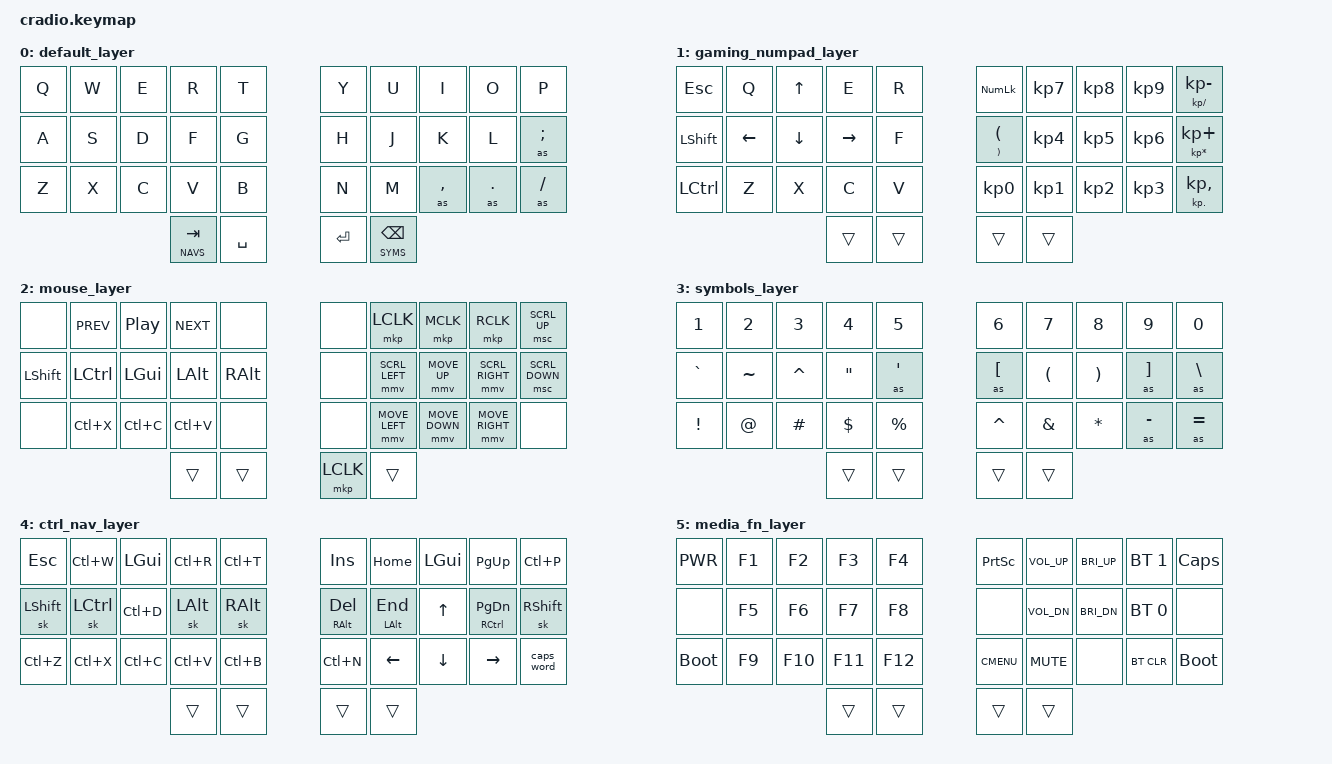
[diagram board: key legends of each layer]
// Copyright (c) 2022 The ZMK Contributors
// SPDX-License-Identifier: MIT

#include <behaviors.dtsi>
#include <dt-bindings/zmk/keys.h>
#include <dt-bindings/zmk/bt.h>

#define ZMK_POINTING_DEFAULT_MOVE_VAL 1500  // default: 600
#define ZMK_POINTING_DEFAULT_SCRL_VAL 20    // default: 10

#include <dt-bindings/zmk/pointing.h>

// Home row mods macro
#define HRML(k1,k2,k3,k4) &ht LSHFT k1  &ht LALT k2  &ht LCTRL k3  &ht LGUI k4
#define HRMR(k1,k2,k3,k4) &ht RGUI k1  &ht RCTRL k2  &ht RALT k3  &ht RSHFT k4

// My layer names
#define KEYS      0
#define GAME      1
#define MOUSE     2
#define SYMS      3
#define NAVS      4
#define UTIL      5

/ {
    behaviors {
        shifted: macro_shifted_kp {
          #binding-cells = <1>;
          label = "MACRO_SHIFTED_KP";
          compatible = "zmk,behavior-macro-one-param";
          bindings =
            <&macro_press &kp LSHFT>,
            <&macro_param_1to1 &macro_tap &kp MACRO_PLACEHOLDER>,
            <&macro_release &kp LSHFT>;
        };
        as_ht: autoshift_hold_tap {
          compatible = "zmk,behavior-hold-tap";
          label = "AUTOSHIFT_HOLD_TAP";
          #binding-cells = <2>;
          tapping-term-ms = <200>;
          flavor = "tap-preferred";
          bindings = <&shifted>, <&kp>;
        };
        as: autoshift {
          compatible = "zmk,behavior-macro-one-param";
          #binding-cells = <1>;
          label = "AUTOSHIFT_KP";
          bindings =
            <&macro_press>,
            <&macro_param_1to1>,
            <&macro_param_1to2>,
            <&as_ht MACRO_PLACEHOLDER MACRO_PLACEHOLDER>,
            <&macro_pause_for_release>,
            <&macro_release>,
            <&macro_param_1to1>,
            <&macro_param_1to2>,
            <&as_ht MACRO_PLACEHOLDER MACRO_PLACEHOLDER>;
        };
        caps_word: caps_word {
          compatible = "zmk,behavior-caps-word";
          #binding-cells = <0>;
          continue-list = <UNDERSCORE MINUS BSPC>;
        };
        ht: hold_tap {
            compatible = "zmk,behavior-hold-tap";
            #binding-cells = <2>;
            flavor = "tap-preferred";
            tapping-term-ms = <220>;
            quick-tap-ms = <150>;
            require-prior-idle-ms = <100>;
            bindings = <&kp>, <&kp>;
        };
        sk: sticky_key {
          compatible = "zmk,behavior-sticky-key";
          #binding-cells = <1>;
          bindings = <&kp>;
          release-after-ms = <2000>;
          quick-release;
          ignore-modifiers;
        };
        td_q_esc: tap_dance {
          compatible = "zmk,behavior-tap-dance";
          #binding-cells = <0>;
          tapping-term-ms = <200>;
          bindings = <&kp Q>, <&kp ESC>;
        };
        lon: toggle_layer_on_only {
            compatible = "zmk,behavior-toggle-layer";
            #binding-cells = <1>;
            display-name = "Toggle Layer On";
            toggle-mode = "on";
        };
    };

    conditional_layers {
        compatible = "zmk,conditional-layers";
        tri_layer {
            if-layers = <3 4>;
            then-layer = <5>;
        };
    };

    // handle layer transitions exclusively through layer buttons
    combos {
        compatible = "zmk,combos";
        // 󱀍 󰍽 -> 󰎠
        combo_layer_numpad {
            timeout-ms = <50>;
            key-positions = <30 31>;
            bindings = <&to GAME>;
            layers = <KEYS MOUSE>;
        };

        // 󱀍 󰎠 -> 󰍽
        combo_layer_mousepad {
            timeout-ms = <50>;
            key-positions = <32 33>;
            bindings = <&to MOUSE>;
            layers = <KEYS GAME>;
        };

        //  󰎠 󰍽 -> 󱀍 <- 󰎠 󰍽
        combo_layer_restore {
            timeout-ms = <50>;
            key-positions = <30 33>;
            bindings = <&to KEYS>;
            layers = <GAME MOUSE>;
        };
    };

    keymap {
        compatible = "zmk,keymap";
        default_layer {
            bindings = <
        //╭────────────┬────────────┬─────────────┬────────────┬────────────╮   ╭────────────┬────────────┬─────────────┬────────────┬────────────╮
        //│  Q         │  W         │  E          │  R         │  T         │   │  Y         │  U         │  I          │  O         │  P         │
            &kp Q       &kp W         &kp E         &kp R        &kp T            &kp Y        &kp U        &kp I         &kp O        &kp P
        //├────────────┼────────────┼─────────────┼────────────┼────────────┤   ├────────────┼────────────┼─────────────┼────────────┤────────────┤
        //│  A         │  S         │  D          │  F         │  G         │   │  H         │  J         │  K          │  L         │  ; :       │
            &kp A       &kp S         &kp D         &kp F        &kp G            &kp H        &kp J        &kp K         &kp L        &as SEMI
        //├────────────┼────────────┼─────────────┼────────────┼────────────┤   ├────────────┼────────────┼─────────────┼────────────┤────────────┤
        //│  Z         │  X         │  C          │  V         │  B         │   │  N         │  M         │  , <        │  . >       │  / ?       │
            &kp Z        &kp X        &kp C         &kp V        &kp B            &kp N        &kp M        &as COMMA     &as DOT      &as FSLH
        //╰────────────┴────────────┴─────────────┼────────────┼────────────┤   ├────────────┼────────────┼─────────────┴────────────┴────────────╯
        //                                        │           │  󱁐         │   │  󰌑         │  󰁮         │
                                                    &lt NAVS TAB &kp SPACE        &kp ENTER    &lt SYMS BSPC
        //                                        ╰────────────┴────────────╯   ╰────────────┴────────────╯
            >;
        };

        gaming_numpad_layer {
            bindings = <
        //╭────────────┬────────────┬─────────────┬────────────┬────────────╮   ╭────────────┬────────────┬─────────────┬────────────┬────────────╮
        //│  ESC       │  Q         │            │  E         │  R         │   │  NumLock   │  7         │  8          │  9         │  - /       │
            &kp ESC      &kp Q        &kp UP        &kp E        &kp R            &kp KP_NUM   &kp KP_N7    &kp KP_N8     &kp KP_N9    &ht KP_DIVIDE KP_MINUS
        //├────────────┼────────────┼─────────────┼────────────┼────────────┤   ├────────────┼────────────┼─────────────┼────────────┤────────────┤
        //│  󰘶         │           │            │           │  F         │   │  ( )       │  4         │  5          │  6         │  + *       │
            &kp LSHFT    &kp LEFT     &kp DOWN      &kp RIGHT    &kp F            &ht RPAR LPAR &kp KP_N4   &kp KP_N5     &kp KP_N6    &ht KP_MULTIPLY KP_PLUS
        //├────────────┼────────────┼─────────────┼────────────┼────────────┤   ├────────────┼────────────┼─────────────┼────────────┤────────────┤
        //│  󰘴         │  Z         │  X          │  C         │  V         │   │  0         │  1         │  2          │  3         │  , .       │
            &kp LCTRL    &kp Z        &kp X         &kp C        &kp V            &kp KP_N0    &kp KP_N1    &kp KP_N2     &kp KP_N3    &ht KP_DOT KP_COMMA
        //╰────────────┴────────────┴─────────────┼────────────┼────────────┤   ├────────────┼────────────┼─────────────┴────────────┴────────────╯
        //                                        │           │  󱁐         │   │  󰌑         │  󰁮         │
                                                    &trans       &trans           &trans       &trans
        //                                        ╰────────────┴────────────╯   ╰────────────┴────────────╯
            >;
        };

        mouse_layer {
            bindings = <
        //╭────────────┬────────────┬─────────────┬────────────┬────────────╮   ╭────────────┬────────────┬─────────────┬────────────┬────────────╮
        //│            │            │             │            │            │   │            │  󰳽 󰍽       │  󰍽          │  󰍽 󰳽       │  󰍽        │
            &none        &kp C_PREV   &kp C_PP      &kp C_NEXT   &none            &none        &mkp LCLK    &mkp MCLK     &mkp RCLK    &msc SCRL_UP
        //├────────────┼────────────┼─────────────┼────────────┼────────────┤   ├────────────┼────────────┼─────────────┼────────────┤────────────┤
        //│            │            │             │            │            │   │            │  󰍽        │  󰍽         │  󰍽        │  󰍽        │
            &kp LSHFT    &kp LCTRL    &kp LGUI      &kp LALT     &kp RALT         &none      &mmv SCRL_LEFT &mmv MOVE_UP  &mmv SCRL_RIGHT &msc SCRL_DOWN
        //├────────────┼────────────┼─────────────┼────────────┼────────────┤   ├────────────┼────────────┼─────────────┼────────────┤────────────┤
        //│            │  󰆐         │  󰆏          │  󰆒         │            │   │            │  󰍽        │  󰍽         │  󰍽        │            │
            &none        &kp LC(X)    &kp LC(C)     &kp LC(V)    &none            &none        &mmv MOVE_LEFT &mmv MOVE_DOWN &mmv MOVE_RIGHT &none
        //╰────────────┴────────────┴─────────────┼────────────┼────────────┤   ├────────────┼────────────┼─────────────┴────────────┴────────────╯
        //                                        │           │   󱁐        │   │   󰳽 󰍽      │  󱁐         │
                                                    &trans       &trans           &mkp LCLK    &trans
        //                                        ╰────────────┴────────────╯   ╰────────────┴────────────╯
            >;
        };

        symbols_layer {
            bindings = <
        //╭────────────┬────────────┬────────────┬────────────┬────────────╮    ╭────────────┬────────────┬────────────┬────────────┬────────────╮
        //│  1 !       │  2 @       │  3 #       │  4 $       │  5 %       │    │  6 ^       │  7 &       │  8 *       │  9 (       │  0 )       │
            &kp N1       &kp N2        &kp N3      &kp N4       &kp N5            &kp N6       &kp N7       &kp N8       &kp N9       &kp N0
        //├────────────┼────────────┼────────────┼────────────┼────────────┤    ├────────────┼────────────┼────────────┼────────────┤────────────┤
        //│  `         │  ~         │  ^         │  "         │  '         │    │  [ {       │  (         │  )         │  ] }       │  \ |       │
            &kp GRAVE    &kp TILDE    &kp CARET    &kp DQT      &as SQT           &as LBKT     &kp LPAR     &kp RPAR     &as RBKT     &as BSLH
        //├────────────┼────────────┼────────────┼────────────┼────────────┤    ├────────────┼────────────┼────────────┼────────────┤────────────┤
        //│  !         │  @         │  #         │  $         │  %         │    │  ^         │  &         │  *         │  - _       │  = +       │
            &kp EXCL     &kp AT       &kp HASH     &kp DOLLAR   &kp PRCNT         &kp CARET    &kp AMPS     &kp STAR     &as MINUS    &as EQUAL
        //╰────────────┴────────────┴────────────┼────────────┼────────────┤    ├────────────┼────────────┼────────────┴────────────┴────────────╯
        //                                       │           │  󱁐         │    │  󰌑         │ [ 󰁮 #### ] │
                                                    &trans       &trans           &trans       &trans
        //                                       ╰────────────┴────────────╯    ╰────────────┴────────────╯
            >;
        };

        ctrl_nav_layer {
            bindings = <
        //╭───────────┬────────────┬──────────────┬────────────┬─────────────╮  ╭────────────┬─────────────┬─────────────┬────────────┬──────────────╮
        //│  ESC      │  󰅖         │  󰘳           │  󰑏         │            │  │  INS       │  󰞗 HOME     │  󰘳          │  PG UP     │  󰐪           │
            &kp ESC     &kp LC(W)    &kp LGUI       &kp LC(R)    &kp LC(T)        &kp INS      &kp HOME      &kp LGUI      &kp PG_UP    &kp LC(P)
        //├───────────┼────────────┼──────────────┼────────────┼─────────────┤  ├────────────┼─────────────┼─────────────┼────────────┤──────────────┤
        //│  󰘶        │  󰘴         │  󰈆           │  󰘵         │  󰘵          │  │  DELETE    │  󰞘 END      │  󱨊          │  PG_DOWN   │  󰘶           │
            &sk LSHFT   &sk LCTRL    &kp LC(D)      &sk LALT     &sk RALT         &ht RALT DEL &ht LALT END  &kp UP        &ht RCTRL PG_DN &sk RSHFT
        //├───────────┼────────────┼──────────────┼────────────┼─────────────┤  ├────────────┼─────────────┼─────────────┼────────────┤──────────────┤
        //│  󰕌        │  󰆐         │  󰆏           │  󰆒         │  󰉤          │  │           │            │  󱨉          │           │  󰌎           │
            &kp LC(Z)   &kp LC(X)    &kp LC(C)      &kp LC(V)    &kp LC(B)        &kp LC(N)    &kp LEFT      &kp DOWN      &kp RIGHT    &caps_word
        //╰───────────┴────────────┴──────────────┼────────────┼─────────────┤  ├────────────┼─────────────┼─────────────┴────────────┴──────────────╯
        //                                        │ [  #### ] │  󱁐          │  │  󰌑         │  󰁮          │
                                                    &trans       &trans           &trans       &trans
        //                                        ╰────────────┴─────────────╯  ╰────────────┴─────────────╯
            >;
        };

        media_fn_layer {
            bindings = <
        //╭────────────┬────────────┬─────────────┬────────────┬─────────────╮  ╭────────────┬──────────────┬──────────────┬──────────────┬─────────────╮
        //│   POWER   │  F1        │  F2         │  F3        │  F4         │  │  󰨵         │  󰕾           │  󰃠           │   BT 1      │  󰘲 CAPS     │
            &kp K_PWR    &kp F1       &kp F2        &kp F3       &kp F4           &kp PSCRN    &kp K_VOL_UP   &kp C_BRI_UP   &bt BT_SEL 1   &kp CAPS
        //├────────────┼────────────┼─────────────┼────────────┼─────────────┤  ├────────────┼──────────────┼──────────────┼──────────────┼─────────────┤
        //│            │  F5        │  F6         │  F7        │  F8            │            │             │  󰃞           │   BT 0      │             │
            &none        &kp F5       &kp F6        &kp F7       &kp F8           &none        &kp K_VOL_DN   &kp C_BRI_DN   &bt BT_SEL 0   &none
        //├────────────┼────────────┼─────────────┼────────────┼─────────────┤  ├────────────┼──────────────┼──────────────┼──────────────┼─────────────┤
        //│            │  F9        │  F10        │  F11       │  F12           │   MENU    │  󰝟           │              │   BT CLR    │             │
            &bootloader  &kp F9       &kp F10       &kp F11      &kp F12          &kp K_CMENU  &kp K_MUTE     &none          &bt BT_CLR     &bootloader
        //╰────────────┴────────────┴─────────────┼────────────┼─────────────┤  ├────────────┼────-─────────┼──────────────┴──────────────┴─────────────╯
        //                                        │ [  #### ] │  󱁐          │  │  󰌑         │ [ 󰁮 ###### ] │
                                                    &trans       &trans           &trans       &trans
        //                                        ╰────────────┴─────────────╯  ╰────────────┴──────────────╯
            >;
        };
    };
};
